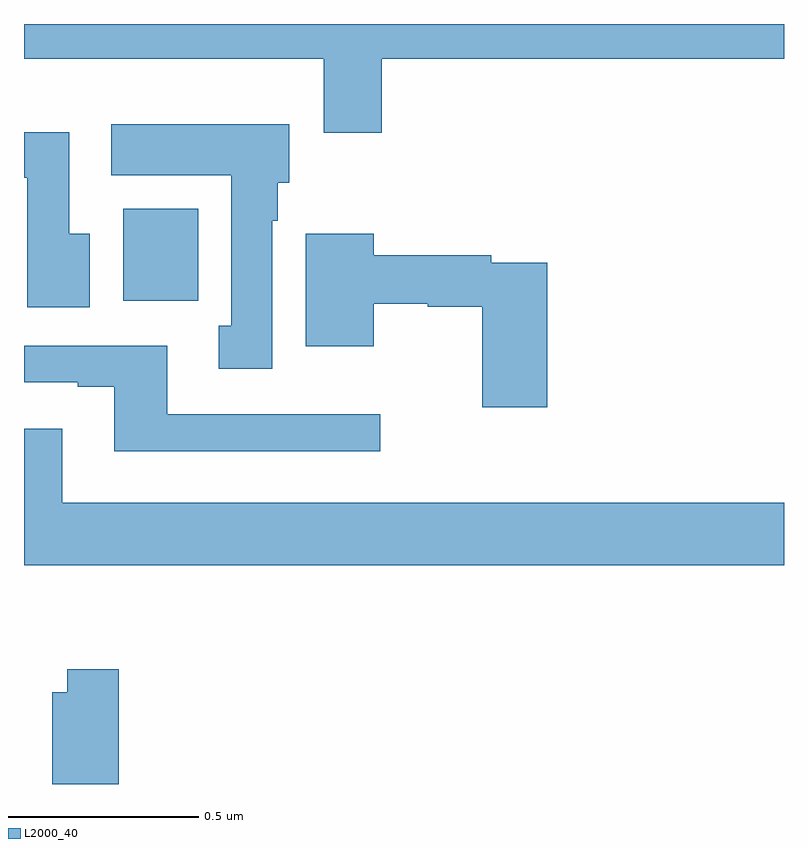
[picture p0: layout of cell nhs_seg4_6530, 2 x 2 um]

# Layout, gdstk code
import gdstk
lib = gdstk.Library(unit=1e-6, precision=1e-09)
def R(c, l, rs):  # rectangles x0, y0, x1, y1
    for r in rs: c.add(gdstk.rectangle(r[:2], r[2:], *l))
def P(c, l, *ps):  # polygons
    for p in ps: c.add(gdstk.Polygon(p, *l))
L2000_40 = (2000, 40)

nhs_seg4_6530 = lib.new_cell('nhs_seg4_6530')
R(nhs_seg4_6530, L2000_40, [(191.261,808.172,191.458,808.414)])
P(nhs_seg4_6530, L2000_40, [(191.942,808.808),(193,808.808),(193,808.9),(191,808.9),(191,808.808),(191.789,808.808),(191.789,808.614),(191.942,808.614)],
  [(191.653,808.382),(191.668,808.382),(191.668,808.482),(191.698,808.482),(191.698,808.636),(191.229,808.636),(191.229,808.502),(191.546,808.502),(191.546,808.106),(191.513,808.106),(191.513,807.993),(191.653,807.993)],
  [(191.173,808.348),(191.119,808.348),(191.119,808.615),(191,808.615),(191,808.496),(191.009,808.496),(191.009,808.155),(191.173,808.155)],
  [(192.377,808.272),(192.23,808.272),(192.23,808.292),(191.92,808.292),(191.92,808.348),(191.741,808.348),(191.741,808.052),(191.92,808.052),(191.92,808.164),(192.063,808.164),(192.063,808.156),(192.206,808.156),(192.206,807.891),(192.377,807.891)],
  [(191.938,807.873),(191.377,807.873),(191.377,808.053),(191,808.053),(191,807.957),(191.141,807.957),(191.141,807.945),(191.237,807.945),(191.237,807.776),(191.938,807.776)],
  [(193,807.64),(191.101,807.64),(191.101,807.835),(191,807.835),(191,807.476),(193,807.476)],
  [(191.249,807.202),(191.114,807.202),(191.114,807.142),(191.074,807.142),(191.074,806.9),(191.249,806.9)])

lib.write_gds('nhs_seg4_6530.gds')
